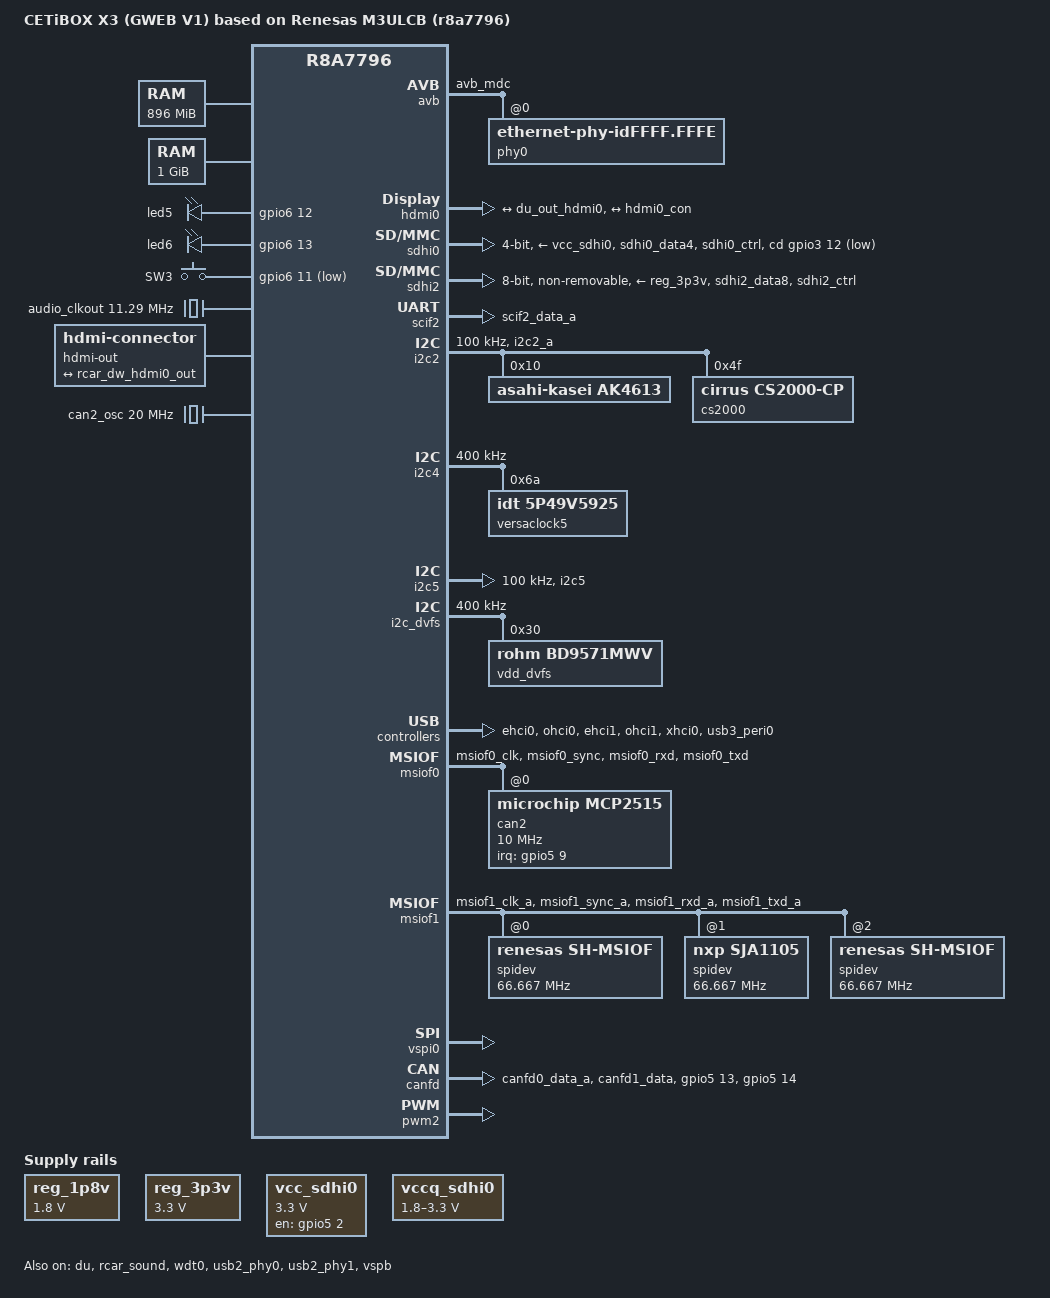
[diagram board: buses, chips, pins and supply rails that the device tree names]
/*
 * Device Tree Source for the CETiBOX X3 (M3ULCB, R-Car Starter Kit Pro board),
 *  Variant: Gateway Expansion Board V1
 *
 * Copyright (C) 2017 Cetitec GmbH
 * Copyright (C) 2016-2017 Renesas Electronics Corp.
 * Copyright (C) 2016 Cogent Embedded, Inc.
 *
 * This file is licensed under the terms of the GNU General Public License
 * version 2.  This program is licensed "as is" without any warranty of any
 * kind, whether express or implied.
 */

/dts-v1/;
#include "r8a7796.dtsi"
#include <dt-bindings/gpio/gpio.h>
#include <dt-bindings/input/input.h>

/ {
	model = "CETiBOX X3 (GWEB V1) based on Renesas M3ULCB (r8a7796)";
	compatible = "cetitec,m3-gweb-v1", "renesas,m3ulcb", "renesas,r8a7796";

	aliases {
		serial0 = &scif2;
		ethernet0 = &avb;
	};

	chosen {
		stdout-path = "serial0:115200n8";
	};

	memory@48000000 {
		device_type = "memory";
		/* first 128MB is reserved for secure area. */
		reg = <0x0 0x48000000 0x0 0x38000000>;
	};

	memory@600000000 {
		device_type = "memory";
		reg = <0x6 0x00000000 0x0 0x40000000>;
	};

	reserved-memory {
		#address-cells = <2>;
		#size-cells = <2>;
		ranges;

		/* device specific region for Lossy Decompression */
		lossy_decompress: linux,lossy_decompress {
			no-map;
			reg = <0x00000000 0x54000000 0x0 0x03000000>;
		};

		/* global autoconfigured region for contiguous allocations */
		linux,cma {
			compatible = "shared-dma-pool";
			reusable;
			reg = <0x00000000 0x58000000 0x0 0x18000000>;
			linux,cma-default;
		};

		/* device specific region for contiguous allocations */
		mmp_reserved: linux,multimedia {
			compatible = "shared-dma-pool";
			reusable;
			reg = <0x00000000 0x70000000 0x0 0x10000000>;
		};
	};

	mmngr {
		compatible = "renesas,mmngr";
		memory-region = <&mmp_reserved>, <&lossy_decompress>;
	};

	mmngrbuf {
		compatible = "renesas,mmngrbuf";
	};

	leds {
		compatible = "gpio-leds";

		led5 {
			gpios = <&gpio6 12 GPIO_ACTIVE_HIGH>;
		};
		led6 {
			gpios = <&gpio6 13 GPIO_ACTIVE_HIGH>;
		};
	};

	keyboard {
		compatible = "gpio-keys";

		key-1 {
			linux,code = <KEY_1>;
			label = "SW3";
			wakeup-source;
			debounce-interval = <20>;
			gpios = <&gpio6 11 GPIO_ACTIVE_LOW>;
		};
	};

	reg_1p8v: regulator0 {
		compatible = "regulator-fixed";
		regulator-name = "fixed-1.8V";
		regulator-min-microvolt = <1800000>;
		regulator-max-microvolt = <1800000>;
		regulator-boot-on;
		regulator-always-on;
	};

	reg_3p3v: regulator1 {
		compatible = "regulator-fixed";
		regulator-name = "fixed-3.3V";
		regulator-min-microvolt = <3300000>;
		regulator-max-microvolt = <3300000>;
		regulator-boot-on;
		regulator-always-on;
	};

	vcc_sdhi0: regulator-vcc-sdhi0 {
		compatible = "regulator-fixed";

		regulator-name = "SDHI0 Vcc";
		regulator-min-microvolt = <3300000>;
		regulator-max-microvolt = <3300000>;

		gpio = <&gpio5 2 GPIO_ACTIVE_HIGH>;
		enable-active-high;
	};

	vccq_sdhi0: regulator-vccq-sdhi0 {
		compatible = "regulator-gpio";

		regulator-name = "SDHI0 VccQ";
		regulator-min-microvolt = <1800000>;
		regulator-max-microvolt = <3300000>;

		gpios = <&gpio5 1 GPIO_ACTIVE_HIGH>;
		gpios-states = <1>;
		states = <3300000 1
			  1800000 0>;
	};

	x12_clk: x12 {
		compatible = "fixed-clock";
		#clock-cells = <0>;
		clock-frequency = <24576000>;
	};

	x23_clk: x23-clock {
        compatible = "fixed-clock";
        #clock-cells = <0>;
        clock-frequency = <25000000>;
    };

	audio_clkout: audio-clkout {
		/*
		 * This is same as <&rcar_sound 0>
		 * but needed to avoid cs2000/rcar_sound probe dead-lock
		 */
		compatible = "fixed-clock";
		#clock-cells = <0>;
		clock-frequency = <11289600>;
	};

	rsnd_ak4613: sound {
		compatible = "simple-audio-card";

		simple-audio-card,format = "left_j";
		simple-audio-card,bitclock-master = <&sndcpu>;
		simple-audio-card,frame-master = <&sndcpu>;

		sndcpu: simple-audio-card,cpu {
			sound-dai = <&rcar_sound>;
		};

		sndcodec: simple-audio-card,codec {
			sound-dai = <&ak4613>;
		};
	};

	vspm_if {
		compatible = "renesas,vspm_if";
	};

	hdmi-out {
		compatible = "hdmi-connector";
		type = "a";

		port {
			hdmi0_con: endpoint {
				remote-endpoint = <&rcar_dw_hdmi0_out>;
			};
		};
	};
};

&extal_clk {
	clock-frequency = <16666666>;
};

&extalr_clk {
	clock-frequency = <32768>;
};

&a57_0 {
	cpu-supply = <&vdd_dvfs>;
};

&pfc {
	pinctrl-0 = <&scif_clk_pins>;
	pinctrl-names = "default";

	scif2_pins: scif2 {
		groups = "scif2_data_a";
		function = "scif2";
	};

	scif_clk_pins: scif_clk {
		groups = "scif_clk_a";
		function = "scif_clk";
	};

	i2c2_pins: i2c2 {
		groups = "i2c2_a";
		function = "i2c2";
	};

	avb_pins: avb {
		groups = "avb_mdc";
		function = "avb";
	};

	sdhi0_pins: sd0 {
		groups = "sdhi0_data4", "sdhi0_ctrl";
		function = "sdhi0";
		power-source = <3300>;
	};

	sdhi0_pins_uhs: sd0_uhs {
		groups = "sdhi0_data4", "sdhi0_ctrl";
		function = "sdhi0";
		power-source = <1800>;
	};

	sdhi2_pins: sd2 {
		groups = "sdhi2_data8", "sdhi2_ctrl";
		function = "sdhi2";
		power-source = <3300>;
	};

	sdhi2_pins_uhs: sd2_uhs {
		groups = "sdhi2_data8", "sdhi2_ctrl";
		function = "sdhi2";
		power-source = <1800>;
	};

	msiof0_pins: spi1 {
		groups = "msiof0_clk", "msiof0_sync",
				"msiof0_rxd", "msiof0_txd";
		function = "msiof0";
	};

	msiof1_pins: spi2 {
		groups = "msiof1_clk_a", "msiof1_sync_a",
				"msiof1_rxd_a",  "msiof1_txd_a";
		function = "msiof1";
	};

	sound_pins: sound {
		groups = "ssi01239_ctrl", "ssi0_data", "ssi1_data_a";
		function = "ssi";
	};

	sound_clk_pins: sound-clk {
		groups = "audio_clk_a_a", "audio_clk_b_a", "audio_clk_c_a",
			 "audio_clkout_a", "audio_clkout3_a";
		function = "audio_clk";
	};

	usb0_pins: usb0 {
		groups = "usb0";
		function = "usb0";
	};

	usb1_pins: usb1 {
		groups = "usb1";
		function = "usb1";
	};

	usb30_pins: usb30 {
		groups = "usb30";
		function = "usb30";
	};

	i2c5_pins: i2c5 {
		groups = "i2c5";
		function = "i2c5";
	};

	can0_pins: can0 {
		groups = "can0_data_a";
		function = "can0";
	};

	can1_pins: can1 {
		groups = "can1_data";
		function = "can1";
	};

	canfd0_pins: canfd0 {
		groups = "canfd0_data_a";
		function = "canfd0";
	};

	canfd1_pins: canfd1 {
		groups = "canfd1_data";
		function = "canfd1";
	};
};

&avb {
    pinctrl-0 = <&avb_pins>;
    pinctrl-names = "default";
    renesas,no-ether-link;
    phy-handle = <&phy0>;
    status = "okay";

    phy-mode = "rgmii";

    phy0: dummy_phy {
        compatible = "ethernet-phy-idFFFF.FFFE";
        reg = <0>;
		speed = <1000>;
    };
};

&du {
	status = "okay";

	clocks = <&cpg CPG_MOD 724>,
             <&cpg CPG_MOD 723>,
             <&cpg CPG_MOD 722>,
             <&cpg CPG_MOD 727>,
             <&versaclock5 1>,
             <&versaclock5 3>,
             <&versaclock5 2>;
    clock-names = "du.0", "du.1", "du.2", "lvds.0",
                  "dclkin.0", "dclkin.1", "dclkin.2";

	ports {
		port@1 {
			endpoint {
				remote-endpoint = <&rcar_dw_hdmi0_in>;
			};
		};
	};
};

&hdmi0 {
	status = "okay";

	ports {
		#address-cells = <1>;
		#size-cells = <0>;
		port@0 {
			reg = <0>;
			rcar_dw_hdmi0_in: endpoint {
				remote-endpoint = <&du_out_hdmi0>;
			};
		};
		port@1 {
			reg = <1>;
			rcar_dw_hdmi0_out: endpoint {
				remote-endpoint = <&hdmi0_con>;
			};
		};
	};
};

&sdhi0 {
	pinctrl-0 = <&sdhi0_pins>;
	pinctrl-1 = <&sdhi0_pins_uhs>;
	pinctrl-names = "default", "state_uhs";

	vmmc-supply = <&vcc_sdhi0>;
	vqmmc-supply = <&vccq_sdhi0>;
	cd-gpios = <&gpio3 12 GPIO_ACTIVE_LOW>;
	bus-width = <4>;
	sd-uhs-sdr50;
	sd-uhs-sdr104;
	status = "okay";
};

&sdhi2 {
	/* used for on-board 8bit eMMC */
	pinctrl-0 = <&sdhi2_pins>;
	pinctrl-1 = <&sdhi2_pins_uhs>;
	pinctrl-names = "default", "state_uhs";

	vmmc-supply = <&reg_3p3v>;
	vqmmc-supply = <&reg_1p8v>;
	mmc-hs200-1_8v;
	mmc-hs400-1_8v;
	bus-width = <8>;
	non-removable;
	status = "okay";
};

&scif2 {
	pinctrl-0 = <&scif2_pins>;
	pinctrl-names = "default";

	status = "okay";
};

&scif_clk {
	clock-frequency = <14745600>;
	status = "okay";
};

&i2c2 {
	pinctrl-0 = <&i2c2_pins>;
	pinctrl-names = "default";

	status = "okay";

	clock-frequency = <100000>;

	ak4613: codec@10 {
		compatible = "asahi-kasei,ak4613";
		#sound-dai-cells = <0>;
		reg = <0x10>;
		clocks = <&rcar_sound 3>;

		asahi-kasei,in1-single-end;
		asahi-kasei,in2-single-end;
		asahi-kasei,out1-single-end;
		asahi-kasei,out2-single-end;
		asahi-kasei,out3-single-end;
		asahi-kasei,out4-single-end;
		asahi-kasei,out5-single-end;
		asahi-kasei,out6-single-end;
	};

	cs2000: clk-multiplier@4f {
		#clock-cells = <0>;
		compatible = "cirrus,cs2000-cp";
		reg = <0x4f>;
		clocks = <&audio_clkout>, <&x12_clk>;
		clock-names = "clk_in", "ref_clk";

		assigned-clocks = <&cs2000>;
		assigned-clock-rates = <24576000>; /* 1/1 divide */
	};
};

&i2c4 {
	status = "okay";
	clock-frequency = <400000>;

	versaclock5: clock-generator@6a {
		compatible = "idt,5p49v5925";
        reg = <0x6a>;
        #clock-cells = <1>;
        clocks = <&x23_clk>;
        clock-names = "xin";
    };
};

/* SM-Bus interface to the USB3.0 hub (Microchip USB5534B) on gateway board */
&i2c5 {
	status = "okay";
	clock-frequency = <100000>;
	pinctrl-0 = <&i2c5_pins>;
	pinctrl-names = "default";
};

&rcar_sound {
	pinctrl-0 = <&sound_pins &sound_clk_pins>;
	pinctrl-names = "default";

	/* Single DAI */
	#sound-dai-cells = <0>;

	/* audio_clkout0/1/2/3 */
	#clock-cells = <1>;
	clock-frequency = <11289600>;
	clkout-lr-synchronous;

	status = "okay";

	/* update <audio_clk_b> to <cs2000> */
	clocks = <&cpg CPG_MOD 1005>,
		 <&cpg CPG_MOD 1006>, <&cpg CPG_MOD 1007>,
		 <&cpg CPG_MOD 1008>, <&cpg CPG_MOD 1009>,
		 <&cpg CPG_MOD 1010>, <&cpg CPG_MOD 1011>,
		 <&cpg CPG_MOD 1012>, <&cpg CPG_MOD 1013>,
		 <&cpg CPG_MOD 1014>, <&cpg CPG_MOD 1015>,
		 <&cpg CPG_MOD 1022>, <&cpg CPG_MOD 1023>,
		 <&cpg CPG_MOD 1024>, <&cpg CPG_MOD 1025>,
		 <&cpg CPG_MOD 1026>, <&cpg CPG_MOD 1027>,
		 <&cpg CPG_MOD 1028>, <&cpg CPG_MOD 1029>,
		 <&cpg CPG_MOD 1030>, <&cpg CPG_MOD 1031>,
		 <&cpg CPG_MOD 1020>, <&cpg CPG_MOD 1021>,
		 <&cpg CPG_MOD 1020>, <&cpg CPG_MOD 1021>,
		 <&cpg CPG_MOD 1019>, <&cpg CPG_MOD 1018>,
		 <&audio_clk_a>, <&cs2000>,
		 <&audio_clk_c>,
		 <&cpg CPG_CORE R8A7796_CLK_S0D4>;

	rcar_sound,dai {
		dai0 {
			playback = <&ssi0 &src0 &dvc0>;
			capture  = <&ssi1 &src1 &dvc1>;
		};
	};
};

&ssi1 {
	shared-pin;
};

&audio_clk_a {
	clock-frequency = <22579200>;
};

&i2c_dvfs {
	status = "okay";
	clock-frequency = <400000>;

	vdd_dvfs: regulator@30 {
		compatible = "rohm,bd9571mwv";
		reg = <0x30>;

		regulator-min-microvolt = <750000>;
		regulator-max-microvolt = <1030000>;
		regulator-boot-on;
		regulator-always-on;
	};
};

&wdt0 {
	timeout-sec = <60>;
	status = "okay";
};

&usb2_phy0 {
	pinctrl-0 = <&usb0_pins>;
	pinctrl-names = "default";

	status = "okay";
};

&usb2_phy1 {
	pinctrl-0 = <&usb1_pins>;
	pinctrl-names = "default";

	status = "okay";
};

&ehci0 {
	status = "okay";
};

&ohci0 {
	status = "okay";
};

&ehci1 {
	status = "okay";
};

&ohci1 {
	status = "okay";
};

&xhci0 {
	status = "okay";
};

&usb3_peri0 {
	status = "okay";
};

&msiof_ref_clk {
	clock-frequency = <66666666>;
};

/* The clock for the MCP2515. */
/ {
	can2_osc: can2_osc {
		compatible = "fixed-clock";
		#clock-cells = <0>;
		clock-frequency  = <20000000>;
	};
};

&msiof0 {
	pinctrl-0 = <&msiof0_pins>;
	pinctrl-names = "default";
	status = "okay";

	num-cs = <1>;
	cs-gpios = <&gpio5 8 GPIO_ACTIVE_LOW>;

	/* The PiCAN board */
	can2: mcp2515@0 {
		compatible = "microchip,mcp2515";
		reg = <0>;
		spi-max-frequency = <10000000>;
		interrupt-parent = <&gpio5>;
		interrupts = <9 IRQ_TYPE_LEVEL_LOW>;
		clocks = <&can2_osc>;
	};
};

&msiof1 {
	pinctrl-0 = <&msiof1_pins>;
	pinctrl-names = "default";
	status = "okay";

	num-cs = <3>;
	cs-gpios = <&gpio6 5 GPIO_ACTIVE_LOW>, <&gpio6 6 GPIO_ACTIVE_LOW>, <&gpio2 1 GPIO_ACTIVE_LOW>;

	/* RH850 MCU (when used as SPI slave). */
	spidev@0 {
		compatible = "renesas,sh-msiof";
		reg = <0>;
		spi-max-frequency = <66666666>;
		spi-cpha;
		spi-cpol;
	};

	/* Ethernet switch 1, configured by userspace. */
	spidev@1 {
		compatible = "nxp,sja1105";
		reg = <1>;
		spi-max-frequency = <66666666>;
		spi-cpha;
		renesas,dtdl = <200>;
		renesas,syncdl = <300>;
	};

	/* Ethernet switch 2, configured by userspace. */
	spidev@2 {
		compatible = "renesas,sh-msiof"; // TODO change to nxp,sja1105
		reg = <2>;
		spi-max-frequency = <66666666>;
		spi-cpha;
		renesas,dtdl = <200>;
		renesas,syncdl = <300>;
	};
};

&vspb {
	status = "okay";
};

&vspi0 {
	status = "okay";
};

/*
 * CAN (classic) controller currently disabled in favor of CAN-FD controller
 * which is able to receive both base and extended CAN frame format, while
 * this controller can do only one format at a time.
 */
&can0 {
	pinctrl-0 = <&can0_pins>;
	pinctrl-names = "default";
	status = "disabled";

	renesas,can-clock-select = <0x0>;
	gpios = <&gpio5 3 GPIO_ACTIVE_HIGH /* enable - shared with camera board */
		 &gpio5 25 GPIO_ACTIVE_LOW /* standby */
		>;
};

&can1 {
	pinctrl-0 = <&can1_pins>;
	pinctrl-names = "default";
	status = "disabled";

	renesas,can-clock-select = <0x0>;
	gpios = <&gpio6 16 GPIO_ACTIVE_HIGH /* enable - shared with camera board */
		 &gpio1 8 GPIO_ACTIVE_LOW /* standby */
		>;
};

&canfd {
	pinctrl-0 = <&canfd0_pins &canfd1_pins>;
	pinctrl-names = "default";
	status = "okay";

	renesas,can-clock-select = <0x0>;
	renesas,no-can-fd; /* makes the driver to put controller into classic CAN mode */
	renesas,tss-tsp = <128>; /* Set timestamp divider to 128 */

	gpios = <&gpio5 13 GPIO_ACTIVE_HIGH /* enable */
		&gpio5 14 GPIO_ACTIVE_LOW /* standby */
		>;

	channel0 {
		status = "okay";
	};

	channel1 {
		status = "okay";
	};
};

&pwm2 {
	status = "okay";
};
